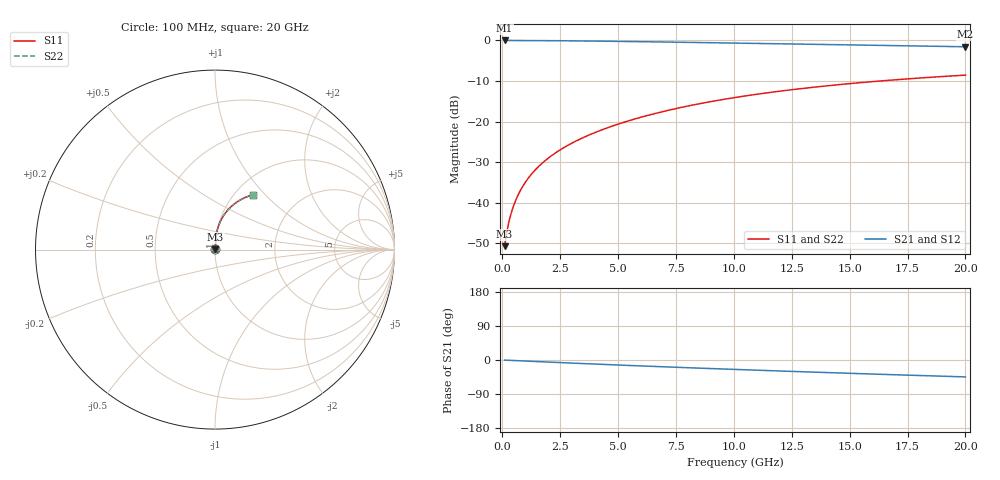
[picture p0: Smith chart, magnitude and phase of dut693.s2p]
! Touchstone file exported from HFSS 2024.1.0
!  File:  C:/UserFiles/LocalFiles/RDL_TSV_Batchsim/temp_RDL_bottom_693_1779787116.aedt
!  Generated:  05:20:54 PM May 26, 2026
!  Design:  RDL_bottom
!  Project:  temp_RDL_bottom_693_1779787116
!  Setup:  Setup1
!  Solution:  Sweep
! Variables:
!  dtsv = 10.80580581um
!  hbump = 3um
!  htsv = 76.5um
!  ldown = 647.46um
!  lrdl = 100um
!  p = 40
!  p1 = 54.06um
!  rhole = 1um
!  t = 450um
!  tdown = 4.77um
!  trdl = 3.915915916um
!  wdown = 24.19um
!  wrdl = 20um
# GHz S MA R 50.000000
! Terminal data exported
! Port[1] = RDL1_T1
! Port[2] = RDL1_T2
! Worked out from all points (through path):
!   200 points, 100 MHz to 20 GHz, reference 50 ohm
!   highest |S21| = -0.02 dB at 100 MHz (marker M1); lowest = -1.6 dB at 20 GHz (marker M2)
!   group delay of S21, straight-line fit = 6.13 ps
!   lowest |S11| = -50.7 dB at 100 MHz (marker M3), VSWR 1.01, Z = 50.2 + j0.197 ohm
!   |S11| at or under -10 dB: start of sweep to 16.31 GHz
!   |S22| runs from -50.7 to -8.6 dB; largest |S21 - S12| = 8e-15
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0.1  0.002929 42.1  0.9978 -0.3  0.9978 -0.3  0.002929 42.1
! Gamma 0 0 0 0
! Port Impedance 50 0 50 0
0.2  0.004462 58.6  0.9976 -0.6  0.9976 -0.6  0.004462 58.6
0.3  0.006085 66.3  0.9974 -0.8  0.9974 -0.8  0.006085 66.3
0.4  0.007734 70.9  0.9973 -1.1  0.9973 -1.1  0.007735 70.9
0.5  0.009407 74.0  0.9971 -1.4  0.9971 -1.4  0.009407 74.0
0.6  0.0111 76.3  0.997 -1.7  0.997 -1.7  0.0111 76.2
0.8  0.01453 79.2  0.9966 -2.2  0.9966 -2.2  0.01453 79.2
1.1  0.01976 81.8  0.9958 -3.1  0.9958 -3.1  0.01976 81.8
1.5  0.02683 83.6  0.9946 -4.1  0.9946 -4.1  0.02683 83.6
1.8  0.0322 84.4  0.9934 -5.0  0.9934 -5.0  0.03219 84.4
2.1  0.03762 84.9  0.992 -5.8  0.992 -5.8  0.03761 84.9
2.7  0.04863 85.4  0.9888 -7.4  0.9888 -7.4  0.04862 85.3
3.5  0.06369 85.4  0.9837 -9.5  0.9837 -9.5  0.06367 85.4
4.2  0.07724 85.1  0.9786 -11.3  0.9786 -11.3  0.07721 85.0
5  0.09314 84.4  0.9722 -13.3  0.9722 -13.3  0.0931 84.3
6.8  0.1301 81.9  0.9565 -17.6  0.9565 -17.6  0.1301 81.8
8.4  0.1637 79.0  0.9419 -21.3  0.9419 -21.3  0.1636 78.9
10.1  0.199 75.5  0.926 -25.0  0.926 -25.0  0.1989 75.5
11.7  0.2314 72.1  0.911 -28.4  0.911 -28.4  0.2312 72.1
13.4  0.2643 68.4  0.8951 -31.9  0.8951 -31.9  0.264 68.4
16.7  0.3228 61.5  0.8643 -38.5  0.8643 -38.5  0.3225 61.5
20  0.3736 55.0  0.8344 -44.6  0.8344 -44.6  0.3733 55.0
